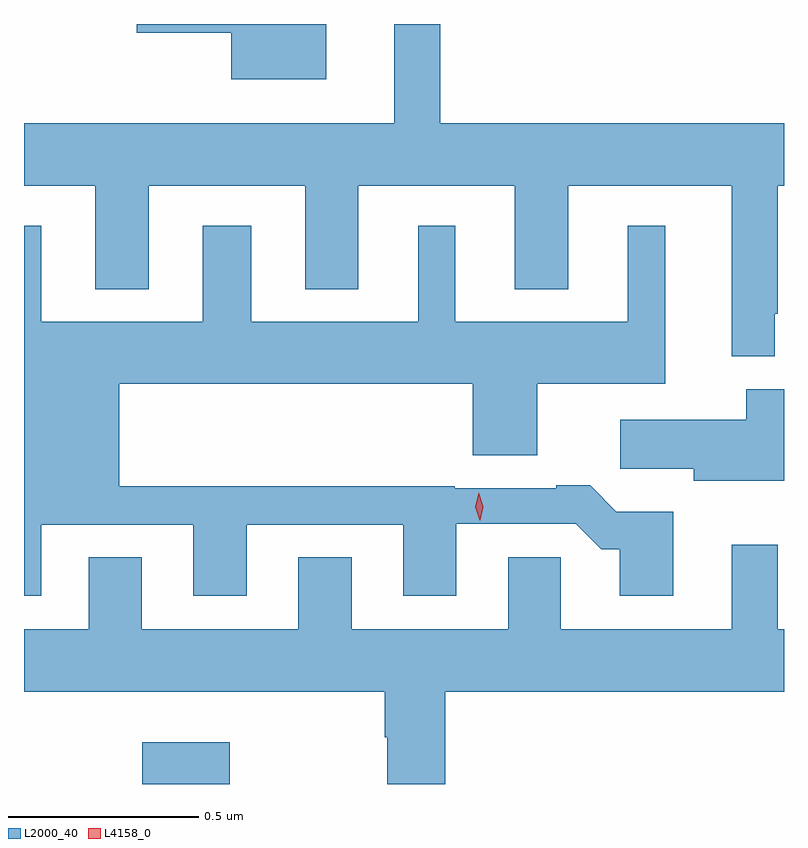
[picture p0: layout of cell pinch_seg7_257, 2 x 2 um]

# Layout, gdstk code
import gdstk
lib = gdstk.Library(unit=1e-6, precision=1e-09)
def R(c, l, rs):  # rectangles x0, y0, x1, y1
    for r in rs: c.add(gdstk.rectangle(r[:2], r[2:], *l))
def P(c, l, *ps):  # polygons
    for p in ps: c.add(gdstk.Polygon(p, *l))
L2000_40 = (2000, 40)
L4158_0 = (4158, 0)

pinch_seg7_257 = lib.new_cell('pinch_seg7_257')
R(pinch_seg7_257, L2000_40, [(826.91,1024.349,827.14,1024.459)])
P(pinch_seg7_257, L2000_40, [(827.395,1026.349),(826.896,1026.349),(826.896,1026.326),(827.144,1026.326),(827.144,1026.203),(827.395,1026.203)],
  [(827.695,1026.349),(827.573,1026.349),(827.573,1026.088),(826.599,1026.088),(826.599,1025.924),(826.787,1025.924),(826.787,1025.651),(826.927,1025.651),(826.927,1025.924),(827.339,1025.924),(827.339,1025.651),(827.479,1025.651),(827.479,1025.924),(827.891,1025.924),(827.891,1025.651),(828.031,1025.651),(828.031,1025.924),(828.461,1025.924),(828.461,1025.475),(828.574,1025.475),(828.574,1025.587),(828.583,1025.587),(828.583,1025.924),(828.599,1025.924),(828.599,1026.088),(827.695,1026.088)],
  [(826.645,1025.031),(827.045,1025.031),(827.045,1024.845),(827.185,1024.845),(827.185,1025.031),(827.597,1025.031),(827.597,1024.845),(827.737,1024.845),(827.737,1025.034),(828.051,1025.034),(828.118,1024.967),(828.167,1024.967),(828.167,1024.845),(828.307,1024.845),(828.307,1025.065),(828.158,1025.065),(828.089,1025.135),(827.999,1025.135),(827.999,1025.127),(827.733,1025.127),(827.733,1025.132),(826.849,1025.132),(826.849,1025.402),(827.78,1025.402),(827.78,1025.214),(827.95,1025.214),(827.95,1025.402),(828.286,1025.402),(828.286,1025.818),(828.188,1025.818),(828.188,1025.566),(827.734,1025.566),(827.734,1025.818),(827.636,1025.818),(827.636,1025.566),(827.197,1025.566),(827.197,1025.818),(827.069,1025.818),(827.069,1025.566),(826.645,1025.566),(826.645,1025.818),(826.599,1025.818),(826.599,1024.845),(826.645,1024.845)],
  [(828.599,1025.388),(828.5,1025.388),(828.5,1025.308),(828.168,1025.308),(828.168,1025.179),(828.362,1025.179),(828.362,1025.147),(828.599,1025.147)],
  [(827.548,1024.472),(827.555,1024.472),(827.555,1024.349),(827.708,1024.349),(827.708,1024.592),(828.599,1024.592),(828.599,1024.756),(828.583,1024.756),(828.583,1024.978),(828.461,1024.978),(828.461,1024.756),(828.012,1024.756),(828.012,1024.946),(827.873,1024.946),(827.873,1024.756),(827.461,1024.756),(827.461,1024.946),(827.321,1024.946),(827.321,1024.756),(826.909,1024.756),(826.909,1024.946),(826.769,1024.946),(826.769,1024.756),(826.599,1024.756),(826.599,1024.592),(827.548,1024.592)])
P(pinch_seg7_257, L4158_0, [(827.798,1025.043),(827.798,1025.043),(827.787,1025.079),(827.796,1025.115),(827.796,1025.115),(827.796,1025.115),(827.807,1025.079),(827.799,1025.043)])

lib.write_gds('pinch_seg7_257.gds')
